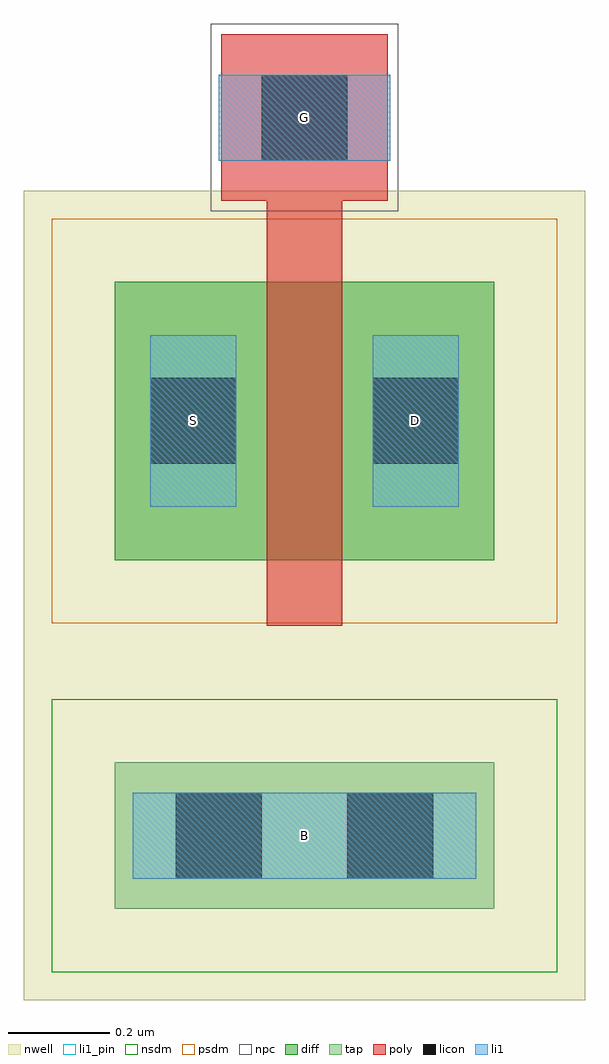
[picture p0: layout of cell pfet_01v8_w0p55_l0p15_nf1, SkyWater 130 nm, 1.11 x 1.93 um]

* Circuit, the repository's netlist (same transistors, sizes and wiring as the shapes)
.SUBCKT pfet_01v8_w0p55_l0p15_nf1 D G S B
M0 D G S B pfet_01v8 w=0.55 l=0.15
.ENDS

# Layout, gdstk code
import gdstk
lib = gdstk.Library(unit=1e-6, precision=1e-09)
def R(c, l, rs):  # rectangles x0, y0, x1, y1
    for r in rs: c.add(gdstk.rectangle(r[:2], r[2:], *l))
nwell = (64, 20)
diff = (65, 20)
tap = (65, 44)
poly = (66, 20)
licon = (66, 44)
li1_pin = (67, 16)
li1 = (67, 20)
nsdm = (93, 44)
psdm = (94, 20)
npc = (95, 20)

pfet_01v8_w0p55_l0p15_nf = lib.new_cell('pfet_01v8_w0p55_l0p15_nf1')
R(pfet_01v8_w0p55_l0p15_nf, nwell, [(-0.18,-0.87,0.93,0.73)])
R(pfet_01v8_w0p55_l0p15_nf, diff, [(0,0,0.75,0.55)])
R(pfet_01v8_w0p55_l0p15_nf, tap, [(0,-0.69,0.75,-0.4)])
R(pfet_01v8_w0p55_l0p15_nf, poly, [(0.3,-0.13,0.45,0.71), (0.21,0.71,0.54,1.04)])
R(pfet_01v8_w0p55_l0p15_nf, licon, [(0.12,-0.63,0.29,-0.46), (0.46,-0.63,0.63,-0.46), (0.07,0.19,0.24,0.36), (0.51,0.19,0.68,0.36), (0.29,0.79,0.46,0.96)])
R(pfet_01v8_w0p55_l0p15_nf, li1_pin, [(0.37,-0.55,0.38,-0.54), (0.15,0.27,0.16,0.28), (0.59,0.27,0.6,0.28), (0.37,0.87,0.38,0.88)])
R(pfet_01v8_w0p55_l0p15_nf, li1, [(0.035,-0.63,0.715,-0.46), (0.07,0.105,0.24,0.445), (0.51,0.105,0.68,0.445), (0.205,0.79,0.545,0.96)])
R(pfet_01v8_w0p55_l0p15_nf, nsdm, [(-0.125,-0.815,0.875,-0.275)])
R(pfet_01v8_w0p55_l0p15_nf, psdm, [(-0.125,-0.125,0.875,0.675)])
R(pfet_01v8_w0p55_l0p15_nf, npc, [(0.19,0.69,0.56,1.06)])
pfet_01v8_w0p55_l0p15_nf.add(gdstk.Label('G', (0.375,0.875), layer=67, texttype=5))
pfet_01v8_w0p55_l0p15_nf.add(gdstk.Label('B', (0.375,-0.545), layer=67, texttype=5))
pfet_01v8_w0p55_l0p15_nf.add(gdstk.Label('S', (0.155,0.275), layer=67, texttype=5))
pfet_01v8_w0p55_l0p15_nf.add(gdstk.Label('D', (0.595,0.275), layer=67, texttype=5))

lib.write_gds('pfet_01v8_w0p55_l0p15_nf1.gds')
